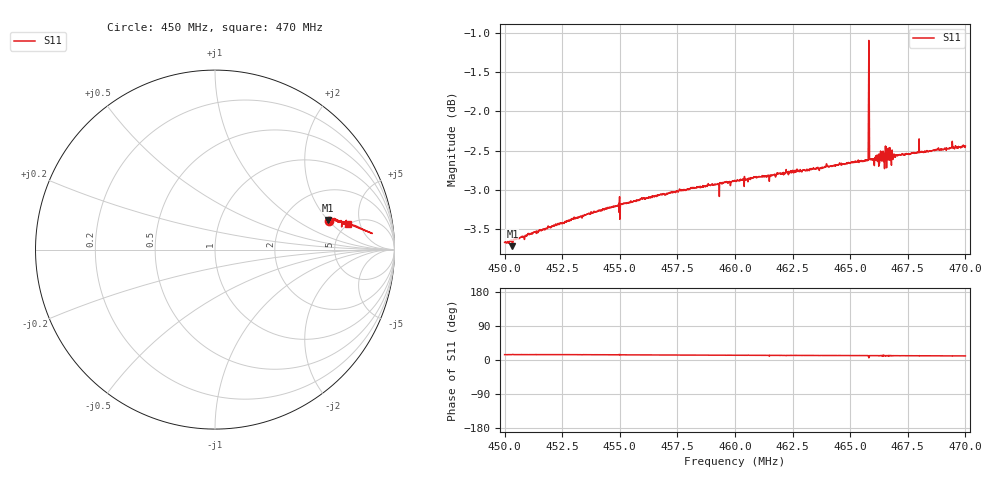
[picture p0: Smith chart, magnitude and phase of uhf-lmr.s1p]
! Calibrated averaged scanner-service zoom
# Hz S RI R 50
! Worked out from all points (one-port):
!   2001 points, 450 MHz to 470 MHz, reference 50 ohm
!   lowest |S11| = -3.7 dB at 450.34 MHz (marker M1), VSWR 4.75, Z = 176 + j101 ohm
!   |S11| at or under -10 dB: nowhere
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4.5e8  0.636 0.16
4.5034e8  0.6309 0.1653
4.525e8  0.6539 0.1646
4.5446e8  0.6701 0.1649
4.55e8  0.6577 0.1656
4.5513e8  0.6737 0.1635
4.5597e8  0.6797 0.1628
4.575e8  0.6882 0.1604
4.6e8  0.7009 0.1554
4.605e8  0.7023 0.1551
4.6153e8  0.7066 0.1541
4.625e8  0.712 0.1517
4.65e8  0.7209 0.1485
4.6568e8  0.7236 0.1485
4.6569e8  0.7242 0.1493
4.6572e8  0.7242 0.1491
4.6573e8  0.7242 0.1492
4.6589e8  0.7257 0.1488
4.6591e8  0.7258 0.1479
4.6593e8  0.7253 0.1478
4.6595e8  0.7254 0.1484
4.6628e8  0.7297 0.1428
4.6632e8  0.7338 0.1529
4.6651e8  0.7252 0.1428
4.6662e8  0.7368 0.1455
4.6678e8  0.7259 0.1422
4.675e8  0.7316 0.1459
4.7e8  0.7417 0.1414
